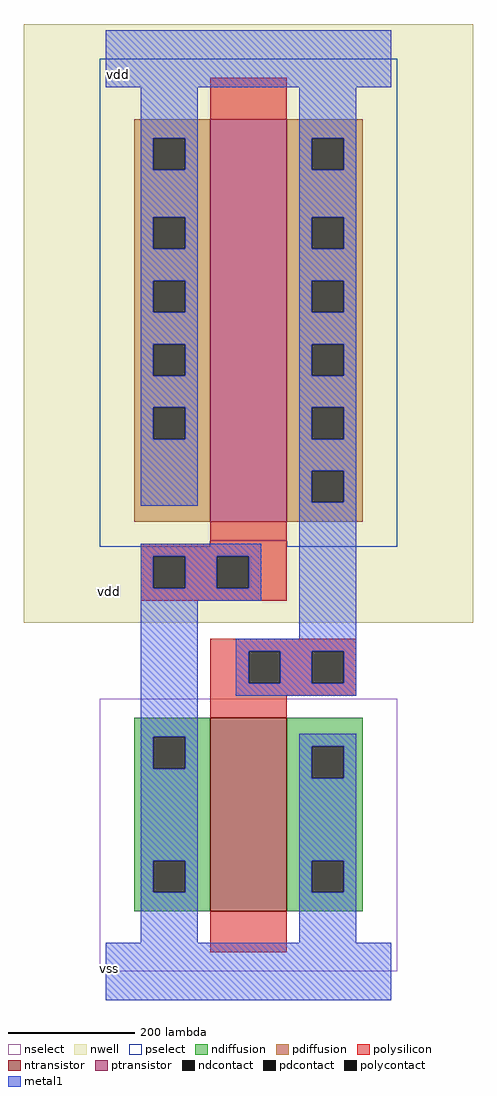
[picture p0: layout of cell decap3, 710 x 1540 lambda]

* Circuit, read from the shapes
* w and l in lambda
.subckt decap3 vdd vss
M1 vss vdd vss VSUBS nfet w=305 l=120
M2 vdd vss vdd vdd pfet w=635 l=120
.ends

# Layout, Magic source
magic
tech amic5n
<< nwell >>
rect -130 550 580 1495
<< ntransistor >>
rect 165 95 285 400
<< ptransistor >>
rect 165 710 285 1345
<< nselect >>
rect -10 0 460 430
<< pselect >>
rect -10 680 460 1440
rect -10 670 165 680
rect 285 670 460 680
<< ndiffusion >>
rect 45 370 165 400
rect 45 320 75 370
rect 125 320 165 370
rect 45 175 165 320
rect 45 125 75 175
rect 125 125 165 175
rect 45 95 165 125
rect 285 355 405 400
rect 285 305 325 355
rect 375 305 405 355
rect 285 175 405 305
rect 285 125 325 175
rect 375 125 405 175
rect 285 95 405 125
<< pdiffusion >>
rect 45 1315 165 1345
rect 45 1265 75 1315
rect 125 1265 165 1315
rect 45 1190 165 1265
rect 45 1140 75 1190
rect 125 1140 165 1190
rect 45 1090 165 1140
rect 45 1040 75 1090
rect 125 1040 165 1090
rect 45 990 165 1040
rect 45 940 75 990
rect 125 940 165 990
rect 45 890 165 940
rect 45 840 75 890
rect 125 840 165 890
rect 45 710 165 840
rect 285 1315 405 1345
rect 285 1265 325 1315
rect 375 1265 405 1315
rect 285 1190 405 1265
rect 285 1140 325 1190
rect 375 1140 405 1190
rect 285 1090 405 1140
rect 285 1040 325 1090
rect 375 1040 405 1090
rect 285 990 405 1040
rect 285 940 325 990
rect 375 940 405 990
rect 285 890 405 940
rect 285 840 325 890
rect 375 840 405 890
rect 285 790 405 840
rect 285 740 325 790
rect 375 740 405 790
rect 285 710 405 740
<< ndcontact >>
rect 75 320 125 370
rect 75 125 125 175
rect 325 305 375 355
rect 325 125 375 175
<< pdcontact >>
rect 75 1265 125 1315
rect 75 1140 125 1190
rect 75 1040 125 1090
rect 75 940 125 990
rect 75 840 125 890
rect 325 1265 375 1315
rect 325 1140 375 1190
rect 325 1040 375 1090
rect 325 940 375 990
rect 325 840 375 890
rect 325 740 375 790
<< polysilicon >>
rect 165 1345 285 1410
rect 165 675 285 710
rect 55 655 285 675
rect 55 605 75 655
rect 125 605 175 655
rect 225 605 285 655
rect 55 585 285 605
rect 165 505 395 525
rect 165 455 225 505
rect 275 455 325 505
rect 375 455 395 505
rect 165 435 395 455
rect 165 400 285 435
rect 165 30 285 95
<< polycontact >>
rect 75 605 125 655
rect 175 605 225 655
rect 225 455 275 505
rect 325 455 375 505
<< metal1 >>
rect 0 1395 450 1485
rect 55 1315 145 1395
rect 55 1265 75 1315
rect 125 1265 145 1315
rect 55 1190 145 1265
rect 55 1140 75 1190
rect 125 1140 145 1190
rect 55 1090 145 1140
rect 55 1040 75 1090
rect 125 1040 145 1090
rect 55 990 145 1040
rect 55 940 75 990
rect 125 940 145 990
rect 55 890 145 940
rect 55 840 75 890
rect 125 840 145 890
rect 55 735 145 840
rect 305 1315 395 1395
rect 305 1265 325 1315
rect 375 1265 395 1315
rect 305 1190 395 1265
rect 305 1140 325 1190
rect 375 1140 395 1190
rect 305 1090 395 1140
rect 305 1040 325 1090
rect 375 1040 395 1090
rect 305 990 395 1040
rect 305 940 325 990
rect 375 940 395 990
rect 305 890 395 940
rect 305 840 325 890
rect 375 840 395 890
rect 305 790 395 840
rect 305 740 325 790
rect 375 740 395 790
rect 55 655 245 675
rect 55 605 75 655
rect 125 605 175 655
rect 225 605 245 655
rect 55 585 245 605
rect 55 370 145 585
rect 305 525 395 740
rect 205 505 395 525
rect 205 455 225 505
rect 275 455 325 505
rect 375 455 395 505
rect 205 435 395 455
rect 55 320 75 370
rect 125 320 145 370
rect 55 175 145 320
rect 55 125 75 175
rect 125 125 145 175
rect 55 45 145 125
rect 305 355 395 375
rect 305 305 325 355
rect 375 305 395 355
rect 305 175 395 305
rect 305 125 325 175
rect 375 125 395 175
rect 305 45 395 125
rect 0 -45 450 45
<< labels >>
flabel metal1 s 5 5 5 5 2 FreeSans 400 0 0 0 vss
port 1 ne
flabel metal1 s 20 1415 20 1415 2 FreeSans 400 0 0 0 vdd
port 0 ne
flabel nwell 5 600 5 600 2 FreeSans 400 0 0 0 vdd
<< properties >>
string LEFsite core
string LEFclass CORE
string FIXED_BBOX 0 0 450 1440
string LEFsymmetry X Y
<< end >>
